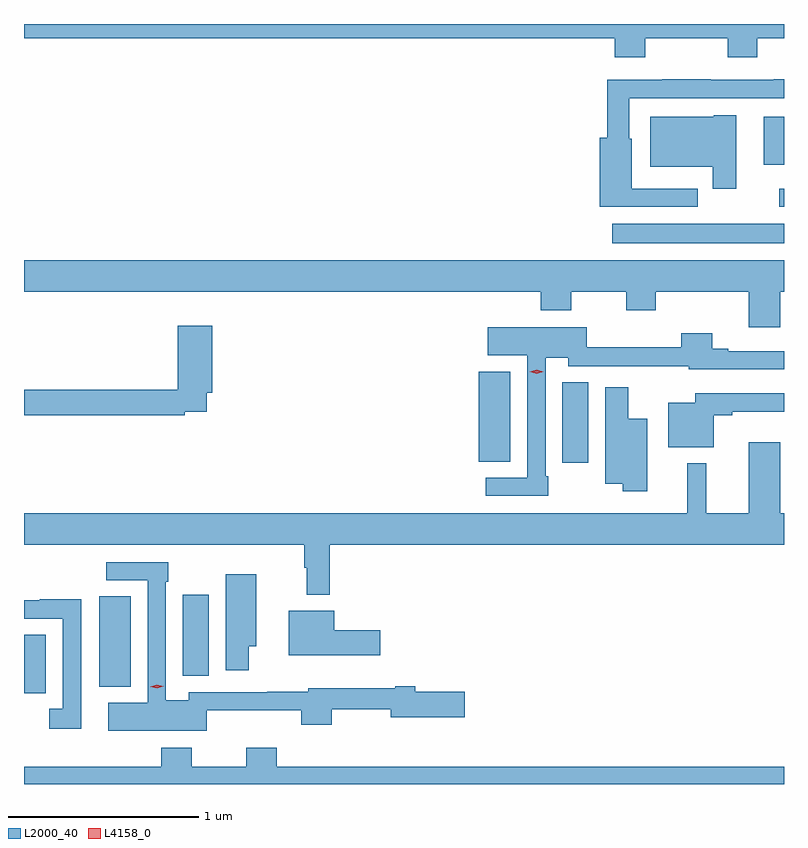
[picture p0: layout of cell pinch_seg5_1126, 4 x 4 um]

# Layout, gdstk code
import gdstk
lib = gdstk.Library(unit=1e-6, precision=1e-09)
def R(c, l, rs):  # rectangles x0, y0, x1, y1
    for r in rs: c.add(gdstk.rectangle(r[:2], r[2:], *l))
def P(c, l, *ps):  # polygons
    for p in ps: c.add(gdstk.Polygon(p, *l))
L2000_40 = (2000, 40)
L4158_0 = (4158, 0)

pinch_seg5_1126 = lib.new_cell('pinch_seg5_1126')
R(pinch_seg5_1126, L2000_40, [(880.473,841.326,880.588,841.633), (880.868,841.361,881.035,841.835), (881.309,841.417,881.446,841.843), (883.307,842.538,883.444,842.963), (882.866,842.545,883.033,843.019), (883.569,843.695,884.473,843.796), (884.448,843.885,884.473,843.981), (884.366,844.106,884.473,844.36)])
P(pinch_seg5_1126, L2000_40, [(883.743,844.772),(884.176,844.772),(884.176,844.673),(884.331,844.673),(884.331,844.772),(884.473,844.772),(884.473,844.848),(880.473,844.848),(880.473,844.772),(883.583,844.772),(883.583,844.673),(883.743,844.673)],
  [(884.018,843.981),(883.672,843.981),(883.672,844.245),(883.659,844.245),(883.659,844.458),(884.473,844.458),(884.473,844.556),(884.419,844.556),(884.419,844.554),(884.087,844.554),(884.087,844.556),(883.831,844.556),(883.831,844.554),(883.543,844.554),(883.543,844.249),(883.502,844.249),(883.502,843.885),(884.018,843.885)],
  [(884.221,844.369),(884.103,844.369),(884.103,844.36),(883.769,844.36),(883.769,844.097),(884.099,844.097),(884.099,843.981),(884.221,843.981)],
  [(884.452,843.44),(884.473,843.44),(884.473,843.604),(880.473,843.604),(880.473,843.44),(883.193,843.44),(883.193,843.341),(883.353,843.341),(883.353,843.44),(883.642,843.44),(883.642,843.341),(883.797,843.341),(883.797,843.44),(884.288,843.44),(884.288,843.252),(884.452,843.252)],
  [(881.318,842.808),(881.435,842.808),(881.435,842.906),(881.465,842.906),(881.465,843.259),(881.282,843.259),(881.282,842.924),(880.473,842.924),(880.473,842.788),(881.318,842.788)],
  [(883.231,842.467),(883.218,842.467),(883.218,843.092),(883.338,843.092),(883.338,843.048),(883.75,843.048),(883.75,843.047),(883.971,843.047),(883.971,843.03),(884.473,843.03),(884.473,843.126),(884.179,843.126),(884.179,843.139),(884.096,843.139),(884.096,843.22),(883.931,843.22),(883.931,843.146),(883.434,843.146),(883.434,843.253),(882.915,843.253),(882.915,843.104),(883.122,843.104),(883.122,842.46),(882.903,842.46),(882.903,842.364),(883.231,842.364)],
  [(883.753,842.77),(883.654,842.77),(883.654,842.935),(883.532,842.935),(883.532,842.429),(883.624,842.429),(883.624,842.39),(883.753,842.39)],
  [(884.103,842.788),(884.2,842.788),(884.2,842.807),(884.473,842.807),(884.473,842.904),(884.007,842.904),(884.007,842.854),(883.865,842.854),(883.865,842.621),(884.103,842.621)],
  [(880.473,842.108),(881.947,842.108),(881.947,841.985),(881.962,841.985),(881.962,841.845),(882.083,841.845),(882.083,842.108),(884.473,842.108),(884.473,842.272),(884.452,842.272),(884.452,842.647),(884.288,842.647),(884.288,842.272),(884.064,842.272),(884.064,842.536),(883.964,842.536),(883.964,842.272),(880.473,842.272)],
  [(881.436,841.235),(881.933,841.235),(881.933,841.16),(882.093,841.16),(882.093,841.242),(882.404,841.242),(882.404,841.199),(882.793,841.199),(882.793,841.334),(882.532,841.334),(882.532,841.363),(882.428,841.363),(882.428,841.351),(881.97,841.351),(881.97,841.334),(881.752,841.334),(881.752,841.332),(881.34,841.332),(881.34,841.288),(881.22,841.288),(881.22,841.913),(881.233,841.913),(881.233,842.016),(880.905,842.016),(880.905,841.92),(881.124,841.92),(881.124,841.276),(880.917,841.276),(880.917,841.127),(881.436,841.127)],
  [(881.656,841.574),(881.695,841.574),(881.695,841.951),(881.534,841.951),(881.534,841.446),(881.656,841.446)],
  [(880.773,841.82),(880.555,841.82),(880.555,841.815),(880.473,841.815),(880.473,841.719),(880.677,841.719),(880.677,841.245),(880.605,841.245),(880.605,841.14),(880.773,841.14)],
  [(882.349,841.656),(882.106,841.656),(882.106,841.759),(881.867,841.759),(881.867,841.526),(882.349,841.526)],
  [(884.473,840.94),(881.804,840.94),(881.804,841.039),(881.644,841.039),(881.644,840.94),(881.355,840.94),(881.355,841.039),(881.195,841.039),(881.195,840.94),(880.473,840.94),(880.473,840.848),(884.473,840.848)])
P(pinch_seg5_1126, L4158_0, [(883.171,843.007),(883.136,843.017),(883.136,843.017),(883.136,843.018),(883.171,843.027),(883.206,843.018),(883.206,843.017),(883.206,843.017)],
  [(881.173,841.351),(881.138,841.359),(881.138,841.359),(881.138,841.359),(881.172,841.371),(881.207,841.362),(881.208,841.362),(881.207,841.362)])

lib.write_gds('pinch_seg5_1126.gds')
